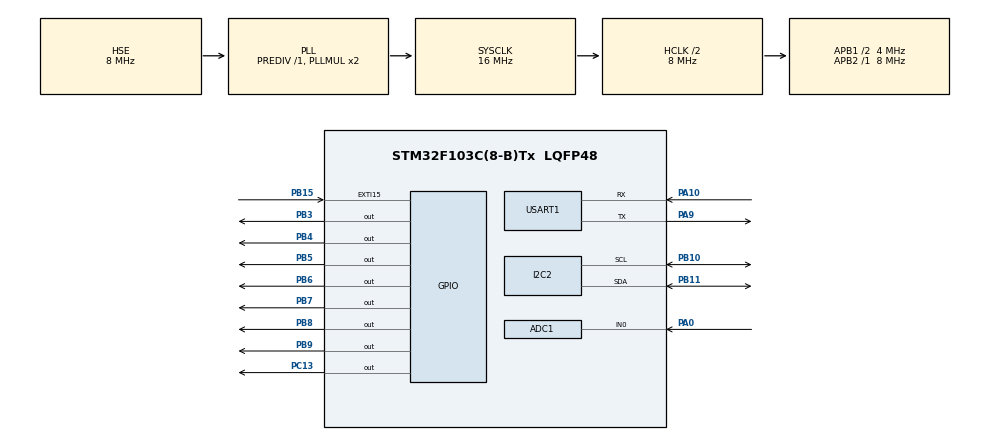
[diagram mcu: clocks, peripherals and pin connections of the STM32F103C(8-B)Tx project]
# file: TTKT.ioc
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ADC1.Channel-0\#ChannelRegularConversion=ADC_CHANNEL_0
ADC1.ContinuousConvMode=ENABLE
ADC1.NbrOfConversion=1
ADC1.NbrOfConversionFlag=1
ADC1.Rank-0\#ChannelRegularConversion=1
ADC1.SamplingTime-0\#ChannelRegularConversion=ADC_SAMPLETIME_239CYCLES_5
ADC1.master=1
Dma.ADC1.0.Direction=DMA_PERIPH_TO_MEMORY
Dma.ADC1.0.Instance=DMA1_Channel1
Dma.ADC1.0.MemDataAlignment=DMA_MDATAALIGN_HALFWORD
Dma.ADC1.0.MemInc=DMA_MINC_ENABLE
Dma.ADC1.0.Mode=DMA_CIRCULAR
Dma.ADC1.0.PeriphDataAlignment=DMA_PDATAALIGN_HALFWORD
Dma.ADC1.0.PeriphInc=DMA_PINC_DISABLE
Dma.ADC1.0.Priority=DMA_PRIORITY_LOW
Dma.Request0=ADC1
I2C2.I2C_Mode=I2C_Fast
Mcu.Family=STM32F1
Mcu.Name=STM32F103C(8-B)Tx
Mcu.Package=LQFP48
NVIC.DMA1_Channel1_IRQn=true\:0\:0\:false\:false\:true\:false\:true\:true
NVIC.EXTI15_10_IRQn=true\:1\:0\:true\:false\:true\:true\:true\:true
NVIC.PriorityGroup=NVIC_PRIORITYGROUP_4
NVIC.USART1_IRQn=true\:1\:0\:true\:false\:true\:true\:true\:true
PA0-WKUP.Signal=ADCx_IN0
PA10.Mode=Asynchronous
PA10.Signal=USART1_RX
PA13.Mode=Serial_Wire
PA13.Signal=SYS_JTMS-SWDIO
PA14.Mode=Serial_Wire
PA14.Signal=SYS_JTCK-SWCLK
PA9.Mode=Asynchronous
PA9.Signal=USART1_TX
PB10.Mode=I2C
PB10.Signal=I2C2_SCL
PB11.Mode=I2C
PB11.Signal=I2C2_SDA
PB15.GPIO_ModeDefaultEXTI=GPIO_MODE_IT_FALLING
PB15.Signal=GPXTI15
PB3.Signal=GPIO_Output
PB4.Signal=GPIO_Output
PB5.Signal=GPIO_Output
PB6.Signal=GPIO_Output
PB7.Signal=GPIO_Output
PB8.Signal=GPIO_Output
PB9.Signal=GPIO_Output
PC13-TAMPER-RTC.Signal=GPIO_Output
PD0-OSC_IN.Mode=HSE-External-Oscillator
PD0-OSC_IN.Signal=RCC_OSC_IN
PD1-OSC_OUT.Mode=HSE-External-Oscillator
PD1-OSC_OUT.Signal=RCC_OSC_OUT
ProjectManager.HeapSize=0x200
ProjectManager.StackSize=0x400
ProjectManager.TargetToolchain=STM32CubeIDE
RCC.ADCPresc=RCC_ADCPCLK2_DIV6
RCC.AHBCLKDivider=RCC_SYSCLK_DIV2
RCC.AHBFreq_Value=8000000
RCC.APB1CLKDivider=RCC_HCLK_DIV2
RCC.APB1Freq_Value=4000000
RCC.APB1TimFreq_Value=8000000
RCC.APB2Freq_Value=8000000
RCC.APB2TimFreq_Value=8000000
RCC.HCLKFreq_Value=8000000
RCC.PLLSourceVirtual=RCC_PLLSOURCE_HSE
RCC.SYSCLKFreq_VALUE=16000000
RCC.SYSCLKSource=RCC_SYSCLKSOURCE_PLLCLK
RCC.USBFreq_Value=16000000
SH.ADCx_IN0.0=ADC1_IN0,IN0
USART1.VirtualMode=VM_ASYNC
board=custom

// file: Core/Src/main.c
/* USER CODE BEGIN Header */
/**
  ******************************************************************************
  * @file           : main.c
  * @brief          : Main program body
  ******************************************************************************
  * @attention
  *
  * Copyright (c) 2022 STMicroelectronics.
  * All rights reserved.
  *
  * This software is licensed under terms that can be found in the LICENSE file
  * in the root directory of this software component.
  * If no LICENSE file comes with this software, it is provided AS-IS.
  *
  ******************************************************************************
  */
/* USER CODE END Header */
#include "main.h"
#include "adc.h"
#include "dma.h"
#include "i2c.h"
#include "usart.h"
#include "gpio.h"

/* USER CODE BEGIN Includes */
#include "lcd_16x2.h"
#include "stdio.h"
#include "string.h"
#include "stdlib.h"
#include "math.h"

#include "ssd1306_conf_template.h"
#include "ssd1306_fonts.h"
#include "ssd1306_tests.h"
#include "ssd1306.h"
/* USER CODE END Includes */

/* USER CODE BEGIN PD */
#define T1 1000
#define T2 3000
#define T3 5000
/* USER CODE END PD */

void SystemClock_Config(void);

/* USER CODE BEGIN 0 */

uint8_t do_C[8] = {0x0,0x06,0x06,0x00,0x00,0x00,0x00,0x00};

uint16_t data[1];
float nhietdo;

//uint8_t* buff_temp[20];
char temp_char[6];

uint32_t period = 3000;
uint16_t temp_limit = 20;
uint8_t period_char[5], temp_limit_char[2] = "20";

uint8_t buffer[8];
uint8_t rx_buff[8] = "M1";

uint32_t previousMillis = 0;
uint32_t currentMillis = 0;
uint32_t count = 0;
uint32_t tick;
uint8_t oled_on = 1, lcd_on = 0;

int __io_putchar (int ch)
{
   HAL_UART_Transmit(&huart1, (uint8_t *)&ch, 1, 100);
   return ch;
}

void sensors_read(void)
{
	/********Nhiet do**********/
	nhietdo = (3.3*100*data[0])/4095.0 + 5;
	sprintf(temp_char,"%.2f", nhietdo);
}

void Lcd_display(void)
{
	// hien thị nhiet do len lcd
	  if (lcd_on)
	  {
		  Lcd_clear_display();
		  sprintf(temp_char,"%.2f", nhietdo);
		  Lcd_gotoxy(0, 0);
		  Lcd_write_string("Temp: ");
		  Lcd_gotoxy(6, 0);
		  Lcd_write_string(temp_char);
		  Lcd_create_custom_char(0, do_C);
		  Lcd_write_custom_char(12, 0, 0);
		  Lcd_gotoxy(13, 0);
		  Lcd_write_string("C");

		  if(nhietdo > temp_limit)
		  {
			 Lcd_gotoxy(0,1);
			 Lcd_write_string("Over temp limit!!!");
		  }
	  }

	  else
	  	  {
		  	  Lcd_clear_display();
		  	  Lcd_gotoxy(5, 0);
		  	  Lcd_write_string("LCD_OFF");
	  	  }
}

void oled_display(void)
{
	if (oled_on)
	{
		sprintf(temp_char,"%.2f", nhietdo);
		ssd1306_Fill(Black);
		ssd1306_SetCursor(4,10);
		ssd1306_WriteString("T: ", Font_11x18, White);
		ssd1306_WriteString(temp_char, Font_11x18, White);
		ssd1306_WriteString(" C", Font_11x18, White);
		ssd1306_UpdateScreen();
		if(nhietdo > temp_limit)
			{
				Lcd_gotoxy(0,1);
				ssd1306_SetCursor(4, 40);
				ssd1306_WriteString("Over Temp Limit !", Font_7x10, White);
				ssd1306_UpdateScreen();
			}
	}
	else
		{
			ssd1306_Fill(Black);
			ssd1306_SetCursor(0,25);
			ssd1306_WriteString("OLED OFF", Font_16x26, White);
			ssd1306_UpdateScreen();
		}
}

void uart_temp_display(void)
{
	printf("\nTemperature: %.2f \xB0\C", nhietdo);
	printf("\nTemperature limit: %d \xB0\C\n",temp_limit);
	if(nhietdo > temp_limit)
	{
		printf("->Over temperature limit!!!\n");
	}
}

void HAL_UART_RxCpltCallback(UART_HandleTypeDef *huart)
{
	if(huart->Instance == USART1) strcpy(rx_buff, buffer);

	// periods: M1Pxxxxx
	if(rx_buff[2] == 80)
	{
		for(int i=0;i<5;i++)
		{
			period_char[i] = rx_buff[i+3];
		}
		printf("\nSet period: %d ms", atoi(period_char));
		period = atoi(period_char);
		oled_on = 1;
	}

	//Temp limit: M1LT00xx
	if ((rx_buff[2] == 'L') && (rx_buff[3] == 84))
	{
		for(int i=0;i<2;i++)
		{
			temp_limit_char[i] = rx_buff[i+6];
		}
		temp_limit = atoi(temp_limit_char);
		printf("\nUpdate temperature limit: %d", temp_limit);
		oled_on = 1;
	}

	// hien thi mode 2
	if(rx_buff[1] == 50)
	{
		HAL_UART_Transmit(&huart1, (uint8_t*)"\nMode 2\n", sizeof("\nMode 2\n"), 100);
		//M2LCD---
			if ((rx_buff[3] == 'C')&& (rx_buff[4] == 'D'))
			{
				// hien thi nhiet do len LCD
				HAL_UART_Transmit(&huart1, (uint8_t*)"Display LCD\n", sizeof("Display LCD\n"), 100);
				lcd_on = 1;
				oled_on = 0;
			}

		//M2OLED--
			if(rx_buff[2] == 'O')
			{
				// hien thi nhiet do len oled
				HAL_UART_Transmit(&huart1, (uint8_t*)"Display Oled\n", sizeof("Display Oled\n"), 100);
				oled_on = 1;
				lcd_on = 0;
			}
		//M2BOTH--
			if(rx_buff[2] == 'B')
			{
				// hien thi len ca hai man hinh
				HAL_UART_Transmit(&huart1, (uint8_t*)"Display All\n", sizeof("Display All\n"), 100);
				oled_on = 1;
				lcd_on = 1;
			}
		//M2NONE---
			if((rx_buff[2] == 'N') &&(rx_buff[3] == 'O'))
			{
				// hien thi len ca hai man hinh
				HAL_UART_Transmit(&huart1, (uint8_t*)"OFF All\n", sizeof("OFF All\n"), 100);
				oled_on = 0;
				lcd_on = 0;
			}
	}

	HAL_UART_Receive_IT(&huart1, buffer, 8);
}
//Button thay doi chu ki
void HAL_GPIO_EXTI_Callback(uint16_t GPIO_Pin)
{
	currentMillis = HAL_GetTick();
	if ((GPIO_Pin == GPIO_PIN_15) && ((currentMillis - previousMillis) > 40))
	{
		count++;
		if (count == 1)
		{
			period = T1;
			HAL_UART_Transmit(&huart1,(uint8_t*)"\n\rSet Periods: 1s", sizeof("\n\rSet Periods: 1s"), 100);
//			Lcd_clear_display();
//			Lcd_gotoxy(0, 0);
//			Lcd_write_string("Periods: 1s");
//			//HAL_Delay(1500);
//			Lcd_clear_display();
		}

		if (count == 2)
		{
			period = T2;
			HAL_UART_Transmit(&huart1, (uint8_t*)"\n\rSet Periods: 3s",sizeof("\n\rSet Periods: 3s") , 100);
		}

		if (count == 3)
		{
			period = T3;
			HAL_UART_Transmit(&huart1, (uint8_t*)"\n\rSet Periods: 5s", sizeof("\n\rSet Periods: 1s"), 100);
			count = 0;
		}

		if (count > 3) count = 0;
		previousMillis = currentMillis;
	}
}

/* USER CODE END 0 */

int main(void)
{

  /* MCU Configuration--------------------------------------------------------*/

  /* Reset of all peripherals, Initializes the Flash interface and the Systick. */
  HAL_Init();

  /* Configure the system clock */
  SystemClock_Config();

  /* Initialize all configured peripherals */
  MX_GPIO_Init();
  MX_DMA_Init();
  MX_ADC1_Init();
  MX_USART1_UART_Init();
  MX_I2C2_Init();
  /* USER CODE BEGIN 2 */
  HAL_ADC_Start_DMA(&hadc1, (uint32_t*)data, 1);
  HAL_UART_Receive_IT(&huart1, buffer, 8);

  Lcd_Init();
  ssd1306_Init();
  Lcd_gotoxy(5, 0);
  Lcd_write_string("START");
  HAL_UART_Transmit(&huart1, (uint8_t*)"START", sizeof("START"), 100);
  ssd1306_Fill(Black);
  ssd1306_SetCursor(25,25);
  ssd1306_WriteString("START", Font_16x26, White);
  ssd1306_UpdateScreen();
  HAL_Delay(2000 - 250);
  Lcd_clear_display();

  /* USER CODE END 2 */

  /* Infinite loop */
  while (1)
  {

    /* USER CODE BEGIN 3 */

	  //read sensors
	  sensors_read();

	  //UART
	  tick = HAL_GetTick();
	  printf("\nTick: %d ms",tick);
	  uart_temp_display();

	  // LCD
	  Lcd_display();
	  oled_display();

	  HAL_GPIO_TogglePin(GPIOC, GPIO_PIN_13);
	  if ((oled_on == 1) && (lcd_on == 1)) HAL_Delay(period-206);
	  if ((oled_on == 0) && (lcd_on == 1)) HAL_Delay(period-232);
	  if ((oled_on == 1) && (lcd_on == 0)) HAL_Delay(period-132);
	  if ((oled_on == 0) && (lcd_on == 0)) HAL_Delay(period-160);
  }
  /* USER CODE END 3 */
}

void SystemClock_Config(void)
{
  RCC_OscInitTypeDef RCC_OscInitStruct = {0};
  RCC_ClkInitTypeDef RCC_ClkInitStruct = {0};
  RCC_PeriphCLKInitTypeDef PeriphClkInit = {0};

  /** Initializes the RCC Oscillators according to the specified parameters
  * in the RCC_OscInitTypeDef structure.
  */
  RCC_OscInitStruct.OscillatorType = RCC_OSCILLATORTYPE_HSE;
  RCC_OscInitStruct.HSEState = RCC_HSE_ON;
  RCC_OscInitStruct.HSEPredivValue = RCC_HSE_PREDIV_DIV1;
  RCC_OscInitStruct.HSIState = RCC_HSI_ON;
  RCC_OscInitStruct.PLL.PLLState = RCC_PLL_ON;
  RCC_OscInitStruct.PLL.PLLSource = RCC_PLLSOURCE_HSE;
  RCC_OscInitStruct.PLL.PLLMUL = RCC_PLL_MUL2;
  if (HAL_RCC_OscConfig(&RCC_OscInitStruct) != HAL_OK)
  {
    Error_Handler();
  }

  /** Initializes the CPU, AHB and APB buses clocks
  */
  RCC_ClkInitStruct.ClockType = RCC_CLOCKTYPE_HCLK|RCC_CLOCKTYPE_SYSCLK
                              |RCC_CLOCKTYPE_PCLK1|RCC_CLOCKTYPE_PCLK2;
  RCC_ClkInitStruct.SYSCLKSource = RCC_SYSCLKSOURCE_PLLCLK;
  RCC_ClkInitStruct.AHBCLKDivider = RCC_SYSCLK_DIV2;
  RCC_ClkInitStruct.APB1CLKDivider = RCC_HCLK_DIV2;
  RCC_ClkInitStruct.APB2CLKDivider = RCC_HCLK_DIV1;

  if (HAL_RCC_ClockConfig(&RCC_ClkInitStruct, FLASH_LATENCY_0) != HAL_OK)
  {
    Error_Handler();
  }
  PeriphClkInit.PeriphClockSelection = RCC_PERIPHCLK_ADC;
  PeriphClkInit.AdcClockSelection = RCC_ADCPCLK2_DIV6;
  if (HAL_RCCEx_PeriphCLKConfig(&PeriphClkInit) != HAL_OK)
  {
    Error_Handler();
  }
}

void Error_Handler(void)
{
  __disable_irq();
  while (1)
  {
  }
}
